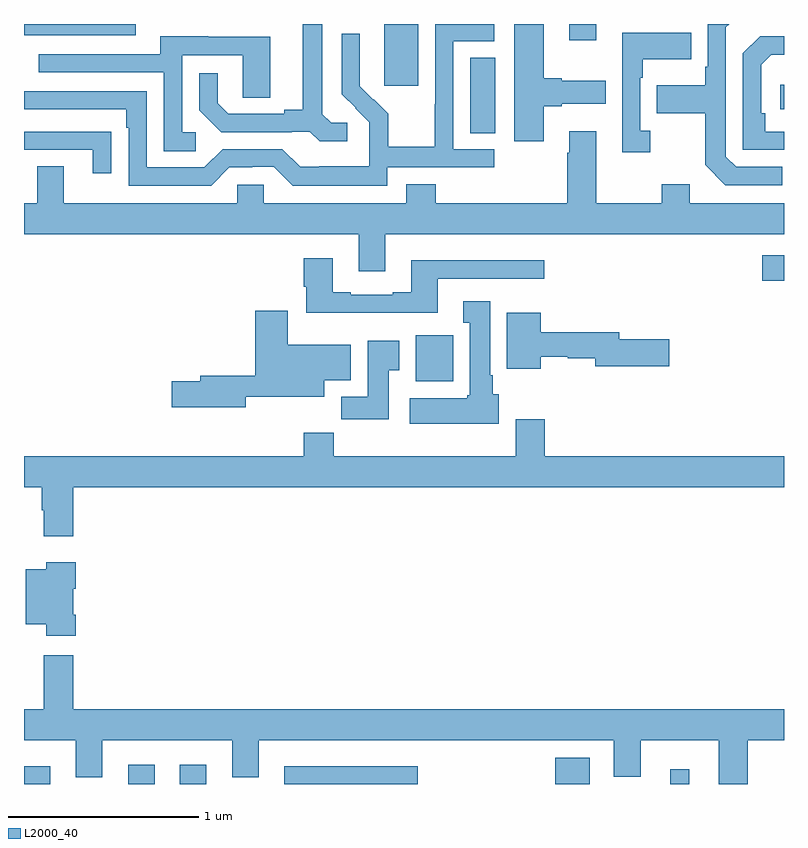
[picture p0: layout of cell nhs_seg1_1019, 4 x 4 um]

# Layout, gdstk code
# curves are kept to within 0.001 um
import gdstk
lib = gdstk.Library(unit=1e-6, precision=1e-09)
def R(c, l, rs):  # rectangles x0, y0, x1, y1
    for r in rs: c.add(gdstk.rectangle(r[:2], r[2:], *l))
def P(c, l, *ps):  # polygons
    for p in ps: c.add(gdstk.Polygon(p, *l))
L2000_40 = (2000, 40)

nhs_seg1_1019 = lib.new_cell('nhs_seg1_1019')
R(nhs_seg1_1019, L2000_40, [(167,522.199,167.137,522.292), (167.549,522.199,167.689,522.301), (167.819,522.199,167.959,522.301), (168.371,522.199,169.072,522.292), (169.796,522.199,169.978,522.337), (170.402,522.199,170.5,522.277), (169.061,524.318,169.258,524.56), (170.886,524.849,171,524.983), (169.349,525.625,169.48,526.022), (170.979,525.75,171,525.88), (168.896,525.873,169.075,526.199), (169.871,526.113,170.011,526.199), (167,526.14,167.587,526.199)])
P(nhs_seg1_1019, L2000_40, [(169.735,525.767),(169.831,525.767),(169.831,525.779),(170.062,525.779),(170.062,525.901),(169.831,525.901),(169.831,525.914),(169.735,525.914),(169.735,526.199),(169.58,526.199),(169.58,525.582),(169.735,525.582)],
  [(168.912,525.444),(169.474,525.444),(169.474,525.54),(169.26,525.54),(169.26,526.107),(169.474,526.107),(169.474,526.199),(169.164,526.199),(169.164,525.776),(169.162,525.776),(169.162,525.553),(168.917,525.553),(168.917,525.727),(168.84,525.804),(168.837,525.801),(168.767,525.872),(168.768,526.148),(168.672,526.148),(168.672,525.83),(168.818,525.682),(168.818,525.585),(168.816,525.585),(168.816,525.451),(168.553,525.451),(168.553,525.447),(168.453,525.447),(168.36,525.54),(168.045,525.54),(167.949,525.444),(167.646,525.444),(167.646,525.846),(167,525.846),(167,525.75),(167.537,525.75),(167.537,525.653),(167.55,525.653),(167.55,525.348),(167.985,525.348),(168.081,525.444),(168.2,525.444),(168.2,525.447),(168.315,525.447),(168.415,525.347),(168.912,525.347)],
  [(170.992,525.447),(170.748,525.447),(170.694,525.501),(170.694,526.182),(170.711,526.199),(170.598,526.199),(170.598,525.973),(170.586,525.973),(170.586,525.877),(170.329,525.877),(170.329,525.73),(170.586,525.73),(170.586,525.457),(170.691,525.351),(170.992,525.351)],
  [(168.7,525.678),(168.618,525.678),(168.571,525.725),(168.571,526.199),(168.467,526.199),(168.467,525.749),(168.371,525.749),(168.371,525.726),(168.076,525.726),(168.019,525.783),(168.019,525.94),(167.922,525.94),(167.922,525.746),(168.038,525.63),(168.41,525.63),(168.41,525.633),(168.504,525.633),(168.556,525.581),(168.7,525.581)],
  [(170.296,525.638),(170.244,525.638),(170.244,525.917),(170.257,525.917),(170.257,526.013),(170.513,526.013),(170.513,526.153),(170.148,526.153),(170.148,525.525),(170.296,525.525)],
  [(167.905,525.63),(167.832,525.63),(167.832,526.035),(168.15,526.035),(168.15,525.811),(168.295,525.811),(168.295,526.131),(167.971,526.131),(167.971,526.135),(167.717,526.135),(167.717,526.041),(167.077,526.041),(167.077,525.945),(167.736,525.945),(167.736,525.529),(167.905,525.529)],
  [(171,525.633),(170.9,525.633),(170.9,525.73),(170.88,525.73),(170.88,525.984),(170.933,526.037),(171,526.037),(171,526.134),(170.874,526.134),(170.784,526.044),(170.784,525.537),(171,525.537)],
  [(168.901,525.092),(171,525.092),(171,525.256),(170.503,525.256),(170.503,525.355),(170.356,525.355),(170.356,525.256),(170.011,525.256),(170.011,525.634),(169.871,525.634),(169.871,525.521),(169.859,525.521),(169.859,525.256),(169.166,525.256),(169.166,525.355),(169.013,525.355),(169.013,525.256),(168.261,525.256),(168.261,525.354),(168.123,525.354),(168.123,525.256),(167.209,525.256),(167.209,525.451),(167.069,525.451),(167.069,525.256),(167,525.256),(167,525.092),(168.761,525.092),(168.761,524.898),(168.901,524.898)],
  [(167.459,525.632),(167.357,525.632),(167.357,525.633),(167,525.633),(167,525.537),(167.363,525.537),(167.363,525.414),(167.459,525.414)],
  [(169.177,524.859),(169.738,524.859),(169.738,524.956),(169.037,524.956),(169.037,524.788),(168.941,524.788),(168.941,524.775),(168.721,524.775),(168.721,524.788),(168.625,524.788),(168.625,524.965),(168.473,524.965),(168.473,524.817),(168.485,524.817),(168.485,524.678),(169.177,524.678)],
  [(169.498,524.25),(169.468,524.25),(169.468,524.35),(169.453,524.35),(169.453,524.74),(169.313,524.74),(169.313,524.627),(169.346,524.627),(169.346,524.244),(169.333,524.244),(169.333,524.23),(169.029,524.23),(169.029,524.096),(169.498,524.096)],
  [(168.166,524.237),(168.58,524.237),(168.58,524.324),(168.721,524.324),(168.721,524.512),(168.388,524.512),(168.388,524.689),(168.218,524.689),(168.218,524.348),(167.927,524.348),(167.927,524.318),(167.778,524.318),(167.778,524.183),(168.166,524.183)],
  [(169.72,524.448),(169.863,524.448),(169.863,524.44),(170.006,524.44),(170.006,524.398),(170.395,524.398),(170.395,524.54),(170.134,524.54),(170.134,524.576),(169.72,524.576),(169.72,524.68),(169.541,524.68),(169.541,524.384),(169.72,524.384)],
  [(168.919,524.377),(168.976,524.377),(168.976,524.533),(168.809,524.533),(168.809,524.236),(168.67,524.236),(168.67,524.118),(168.919,524.118)],
  [(167.258,523.76),(171,523.76),(171,523.924),(169.742,523.924),(169.742,524.119),(169.589,524.119),(169.589,523.924),(168.629,523.924),(168.629,524.048),(168.473,524.048),(168.473,523.924),(167,523.924),(167,523.76),(167.093,523.76),(167.093,523.64),(167.105,523.64),(167.105,523.503),(167.258,523.503)],
  [(167.273,523.09),(167.26,523.09),(167.26,523.226),(167.273,523.226),(167.273,523.366),(167.117,523.366),(167.117,523.33),(167.009,523.33),(167.009,523.04),(167.117,523.04),(167.117,522.978),(167.273,522.978)],
  [(167.258,522.877),(167.105,522.877),(167.105,522.592),(167,522.592),(167,522.428),(167.273,522.428),(167.273,522.234),(167.413,522.234),(167.413,522.428),(168.095,522.428),(168.095,522.234),(168.235,522.234),(168.235,522.428),(170.105,522.428),(170.105,522.238),(170.245,522.238),(170.245,522.428),(170.657,522.428),(170.657,522.199),(170.81,522.199),(170.81,522.428),(171,522.428),(171,522.592),(167.258,522.592)])

lib.write_gds('nhs_seg1_1019.gds')
